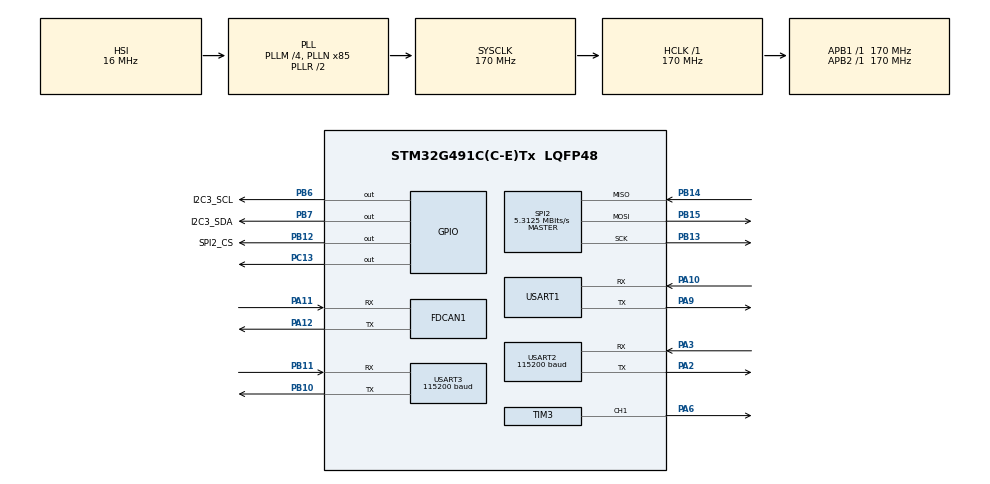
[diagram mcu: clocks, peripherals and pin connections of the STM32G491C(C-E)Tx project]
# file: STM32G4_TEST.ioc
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FDCAN1.AutoRetransmission=ENABLE
FDCAN1.CalculateBaudRateNominal=500000
FDCAN1.CalculateTimeBitNominal=2000
FDCAN1.CalculateTimeQuantumNominal=100.0
FDCAN1.FrameFormat=FDCAN_FRAME_CLASSIC
FDCAN1.NominalPrescaler=17
FDCAN1.NominalTimeSeg1=16
FDCAN1.NominalTimeSeg2=3
FDCAN1.TxFifoQueueMode=FDCAN_TX_FIFO_OPERATION
FREERTOS.Tasks01=defaultTask,24,128,StartDefaultTask,Default,NULL,Dynamic,NULL,NULL;ctrl_motor,38,256,Send_motor,Default,NULL,Dynamic,NULL,NULL;NAVIGATION,38,256,Navigation_TASK,Default,NULL,Dynamic,NULL,NULL;uart1_motor,38,256,Uart1M_task,Default,NULL,Dynamic,NULL,NULL;Uart3_yuyin,38,256,Uart3Yuyin_task,Default,NULL,Dynamic,NULL,NULL;OLED,40,640,OLED_TASK,Default,NULL,Dynamic,NULL,NULL
FREERTOS.configTOTAL_HEAP_SIZE=8192
Mcu.Family=STM32G4
Mcu.Name=STM32G491C(C-E)Tx
Mcu.Package=LQFP48
NVIC.FDCAN1_IT0_IRQn=true\:5\:0\:false\:false\:true\:true\:true\:true\:true
NVIC.PriorityGroup=NVIC_PRIORITYGROUP_4
NVIC.TIM6_DAC_IRQn=true\:5\:0\:false\:false\:true\:true\:false\:true\:true
NVIC.TimeBase=TIM6_DAC_IRQn
NVIC.TimeBaseIP=TIM6
NVIC.USART1_IRQn=true\:5\:0\:false\:false\:true\:true\:true\:true\:true
NVIC.USART2_IRQn=true\:5\:0\:false\:false\:true\:true\:true\:true\:true
NVIC.USART3_IRQn=true\:5\:0\:false\:false\:true\:true\:true\:true\:true
PA10.GPIO_PuPd=GPIO_PULLUP
PA10.GPIO_Speed=GPIO_SPEED_FREQ_MEDIUM
PA10.Mode=Asynchronous
PA10.Signal=USART1_RX
PA11.GPIO_Speed=GPIO_SPEED_FREQ_MEDIUM
PA11.Mode=FDCAN_Activate
PA11.Signal=FDCAN1_RX
PA12.GPIO_Speed=GPIO_SPEED_FREQ_MEDIUM
PA12.Mode=FDCAN_Activate
PA12.Signal=FDCAN1_TX
PA13.Mode=Serial_Wire
PA13.Signal=SYS_JTMS-SWDIO
PA14.Mode=Serial_Wire
PA14.Signal=SYS_JTCK-SWCLK
PA2.GPIO_Speed=GPIO_SPEED_FREQ_MEDIUM
PA2.Mode=Asynchronous
PA2.Signal=USART2_TX
PA3.GPIO_PuPd=GPIO_PULLUP
PA3.GPIO_Speed=GPIO_SPEED_FREQ_MEDIUM
PA3.Mode=Asynchronous
PA3.Signal=USART2_RX
PA6.GPIO_Speed=GPIO_SPEED_FREQ_MEDIUM
PA6.Signal=S_TIM3_CH1
PA9.GPIO_Speed=GPIO_SPEED_FREQ_MEDIUM
PA9.Mode=Asynchronous
PA9.Signal=USART1_TX
PB10.GPIO_Speed=GPIO_SPEED_FREQ_MEDIUM
PB10.Mode=Asynchronous
PB10.Signal=USART3_TX
PB11.GPIO_PuPd=GPIO_PULLUP
PB11.GPIO_Speed=GPIO_SPEED_FREQ_MEDIUM
PB11.Mode=Asynchronous
PB11.Signal=USART3_RX
PB12.GPIO_Label=SPI2_CS
PB12.GPIO_Speed=GPIO_SPEED_FREQ_VERY_HIGH
PB12.PinState=GPIO_PIN_SET
PB12.Signal=GPIO_Output
PB13.GPIO_Speed=GPIO_SPEED_FREQ_VERY_HIGH
PB13.Mode=Full_Duplex_Master
PB13.Signal=SPI2_SCK
PB14.GPIO_Speed=GPIO_SPEED_FREQ_VERY_HIGH
PB14.Mode=Full_Duplex_Master
PB14.Signal=SPI2_MISO
PB15.GPIO_Speed=GPIO_SPEED_FREQ_VERY_HIGH
PB15.Mode=Full_Duplex_Master
PB15.Signal=SPI2_MOSI
PB6.GPIO_Label=I2C3_SCL
PB6.GPIO_ModeDefaultOutputPP=GPIO_MODE_OUTPUT_OD
PB6.GPIO_PuPd=GPIO_NOPULL
PB6.GPIO_Speed=GPIO_SPEED_FREQ_MEDIUM
PB6.PinState=GPIO_PIN_SET
PB6.Signal=GPIO_Output
PB7.GPIO_Label=I2C3_SDA
PB7.GPIO_ModeDefaultOutputPP=GPIO_MODE_OUTPUT_OD
PB7.GPIO_PuPd=GPIO_NOPULL
PB7.PinState=GPIO_PIN_SET
PB7.Signal=GPIO_Output
PC13.PinState=GPIO_PIN_SET
PC13.Signal=GPIO_Output
PC14-OSC32_IN.Mode=LSE-External-Oscillator
PC14-OSC32_IN.Signal=RCC_OSC32_IN
PC15-OSC32_OUT.Mode=LSE-External-Oscillator
PC15-OSC32_OUT.Signal=RCC_OSC32_OUT
PF0-OSC_IN.Mode=HSE-External-Oscillator
PF0-OSC_IN.Signal=RCC_OSC_IN
PF1-OSC_OUT.Mode=HSE-External-Oscillator
PF1-OSC_OUT.Signal=RCC_OSC_OUT
ProjectManager.HeapSize=0x200
ProjectManager.StackSize=0x400
ProjectManager.TargetToolchain=CMake
RCC.ADC12Freq_Value=170000000
RCC.ADC345Freq_Value=170000000
RCC.AHBFreq_Value=170000000
RCC.APB1Freq_Value=170000000
RCC.APB1TimFreq_Value=170000000
RCC.APB2Freq_Value=170000000
RCC.APB2TimFreq_Value=170000000
RCC.CortexFreq_Value=170000000
RCC.EXTERNAL_CLOCK_VALUE=12288000
RCC.HCLKFreq_Value=170000000
RCC.HSE_VALUE=8000000
RCC.HSI48_VALUE=48000000
RCC.HSI_VALUE=16000000
RCC.PLLM=RCC_PLLM_DIV4
RCC.PLLN=85
RCC.SYSCLKFreq_VALUE=170000000
RCC.SYSCLKSource=RCC_SYSCLKSOURCE_PLLCLK
RCC.VCOOutputFreq_Value=340000000
SH.S_TIM3_CH1.0=TIM3_CH1,PWM Generation1 CH1
SPI2.BaudRatePrescaler=SPI_BAUDRATEPRESCALER_32
SPI2.CalculateBaudRate=5.3125 MBits/s
SPI2.DataSize=SPI_DATASIZE_8BIT
SPI2.Direction=SPI_DIRECTION_2LINES
SPI2.Mode=SPI_MODE_MASTER
SPI2.VirtualType=VM_MASTER
STMicroelectronics.X-CUBE-ALGOBUILD.1.4.0.LibraryCcDSPOoLibraryJjDSPOoLibrary=true
TIM3.Channel-PWM\ Generation1\ CH1=TIM_CHANNEL_1
TIM3.PeriodNoDither=19999
TIM3.Prescaler=170
USART1.VirtualMode-Asynchronous=VM_ASYNC
USART2.BaudRate=115200
USART2.VirtualMode-Asynchronous=VM_ASYNC
USART3.BaudRate=115200
USART3.VirtualMode-Asynchronous=VM_ASYNC
VP_FREERTOS_VS_CMSIS_V2.Mode=CMSIS_V2
VP_STMicroelectronics.X-CUBE-ALGOBUILD_VS_DSPOoLibraryJjLibrary_1.4.0_1.4.0.Mode=DSPOoLibraryJjLibrary
VP_SYS_VS_DBSignals.Mode=DisableDeadBatterySignals
VP_SYS_VS_tim6.Mode=TIM6
VP_TIM2_VS_ClockSourceINT.Mode=Internal
VP_TIM3_VS_ClockSourceINT.Mode=Internal
board=custom

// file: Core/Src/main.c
/* USER CODE BEGIN Header */
/**
  ******************************************************************************
  * @file           : main.c
  * @brief          : Main program body
  ******************************************************************************
  * @attention
  *
  * Copyright (c) 2026 STMicroelectronics.
  * All rights reserved.
  *
  * This software is licensed under terms that can be found in the LICENSE file
  * in the root directory of this software component.
  * If no LICENSE file comes with this software, it is provided AS-IS.
  *
  ******************************************************************************
  */
/* USER CODE END Header */
#include "main.h"
#include "cmsis_os.h"
#include "fdcan.h"
#include "spi.h"
#include "tim.h"
#include "usart.h"
#include "gpio.h"

/* USER CODE BEGIN Includes */
#include "Common_used.h"
#include <stdio.h>
#include "usart.h"
/* USER CODE END Includes */

/* USER CODE BEGIN PV */
void Hal_starte()
{

		FDCAN1_UserInit();

		__HAL_UART_CLEAR_FLAG(&huart1, UART_CLEAR_OREF | UART_CLEAR_FEF | UART_CLEAR_NEF);
    __HAL_UART_CLEAR_FLAG(&huart3, UART_CLEAR_OREF | UART_CLEAR_FEF | UART_CLEAR_NEF);

		HAL_UART_Receive_IT(&huart1, &rx1, 1);//�����շ�ʼ��
		HAL_UART_Receive_IT(&huart3, &rx3, 1);
		/* DMA 循环接收 + IDLE 帧同步 */
		UART2_StartDMAReceive();

		HAL_TIM_PWM_Start(&htim3, TIM_CHANNEL_1);//������ʼ��
		HAL_TIM_PWM_Start(&htim3, TIM_CHANNEL_2);
		HAL_TIM_PWM_Start(&htim3, TIM_CHANNEL_3);

		HAL_TIM_IC_Start_IT(&htim2, TIM_CHANNEL_1);//����ʼ��

}
/* USER CODE END PV */

void SystemClock_Config(void);
void MX_FREERTOS_Init(void);
/* USER CODE BEGIN PFP */

#if defined(__ARMCC_VERSION) && (__ARMCC_VERSION >= 6000000)
__asm(".global __use_no_semihosting\n");
#elif defined(__CC_ARM)
#pragma import(__use_no_semihosting)

struct __FILE
{
    int handle;
};
#endif

FILE __stdout;
FILE __stdin;

int fputc(int ch, FILE *f)
{
    HAL_UART_Transmit(&huart3, (uint8_t *)&ch, 1, 0xFFFF);
    return ch;
}

int __io_putchar(int ch)
{
    HAL_UART_Transmit(&huart3, (uint8_t *)&ch, 1, 0xFFFF);
    return ch;
}

void _ttywrch(int ch)
{
    HAL_UART_Transmit(&huart3, (uint8_t *)&ch, 1, 0xFFFF);
}

void _sys_exit(int x)
{
    x = x;
}

/* USER CODE END PFP */

int main(void)
{

  /* MCU Configuration--------------------------------------------------------*/

  /* Reset of all peripherals, Initializes the Flash interface and the Systick. */
  HAL_Init();

  /* Configure the system clock */
  SystemClock_Config();

  /* Initialize all configured peripherals */
  MX_GPIO_Init();
  MX_FDCAN1_Init();
  MX_SPI2_Init();
  MX_TIM2_Init();
  MX_TIM3_Init();
  MX_USART1_UART_Init();
  MX_USART2_UART_Init();
  MX_USART3_UART_Init();
  /* USER CODE BEGIN 2 */
	OLED_Init();
//	IMU660RC_Init();
//	IMU660RC_AttitudeInit();
	Hal_starte();

 //  Emm_V5_Vel_Control(1,1,10,10,0);
	// Emm_V5_Vel_Control(2,1,10,10,0);
 //  // osDelay(10);
 //  Emm_V5_Vel_Control(3,1,10,10,0);
 //  Emm_V5_Vel_Control(4,1,10,10,0);
 // Emm_V5_Synchronous_motion(0);
	// //OLED_ShowNum(1,1,11,3,OLED_6X8);
	//OLED_Update();
  /* USER CODE END 2 */

  /* Init scheduler */
  osKernelInitialize();

  /* Call init function for freertos objects (in cmsis_os2.c) */
  MX_FREERTOS_Init();

  /* Start scheduler */
  osKernelStart();

  /* We should never get here as control is now taken by the scheduler */

  /* Infinite loop */
  while (1)
  {

  }
}

void SystemClock_Config(void)
{
  RCC_OscInitTypeDef RCC_OscInitStruct = {0};
  RCC_ClkInitTypeDef RCC_ClkInitStruct = {0};

  /** Configure the main internal regulator output voltage
  */
  HAL_PWREx_ControlVoltageScaling(PWR_REGULATOR_VOLTAGE_SCALE1_BOOST);

  /** Initializes the RCC Oscillators according to the specified parameters
  * in the RCC_OscInitTypeDef structure.
  */
  RCC_OscInitStruct.OscillatorType = RCC_OSCILLATORTYPE_HSI;
  RCC_OscInitStruct.HSIState = RCC_HSI_ON;
  RCC_OscInitStruct.HSICalibrationValue = RCC_HSICALIBRATION_DEFAULT;
  RCC_OscInitStruct.PLL.PLLState = RCC_PLL_ON;
  RCC_OscInitStruct.PLL.PLLSource = RCC_PLLSOURCE_HSI;
  RCC_OscInitStruct.PLL.PLLM = RCC_PLLM_DIV4;
  RCC_OscInitStruct.PLL.PLLN = 85;
  RCC_OscInitStruct.PLL.PLLP = RCC_PLLP_DIV2;
  RCC_OscInitStruct.PLL.PLLQ = RCC_PLLQ_DIV2;
  RCC_OscInitStruct.PLL.PLLR = RCC_PLLR_DIV2;
  if (HAL_RCC_OscConfig(&RCC_OscInitStruct) != HAL_OK)
  {
    Error_Handler();
  }

  /** Initializes the CPU, AHB and APB buses clocks
  */
  RCC_ClkInitStruct.ClockType = RCC_CLOCKTYPE_HCLK|RCC_CLOCKTYPE_SYSCLK
                              |RCC_CLOCKTYPE_PCLK1|RCC_CLOCKTYPE_PCLK2;
  RCC_ClkInitStruct.SYSCLKSource = RCC_SYSCLKSOURCE_PLLCLK;
  RCC_ClkInitStruct.AHBCLKDivider = RCC_SYSCLK_DIV1;
  RCC_ClkInitStruct.APB1CLKDivider = RCC_HCLK_DIV1;
  RCC_ClkInitStruct.APB2CLKDivider = RCC_HCLK_DIV1;

  if (HAL_RCC_ClockConfig(&RCC_ClkInitStruct, FLASH_LATENCY_4) != HAL_OK)
  {
    Error_Handler();
  }
}

void HAL_TIM_PeriodElapsedCallback(TIM_HandleTypeDef *htim)
{
  if (htim->Instance == TIM6)
  {
    HAL_IncTick();
  }
}

void Error_Handler(void)
{
  __disable_irq();
  while (1)
  {
  }
}
